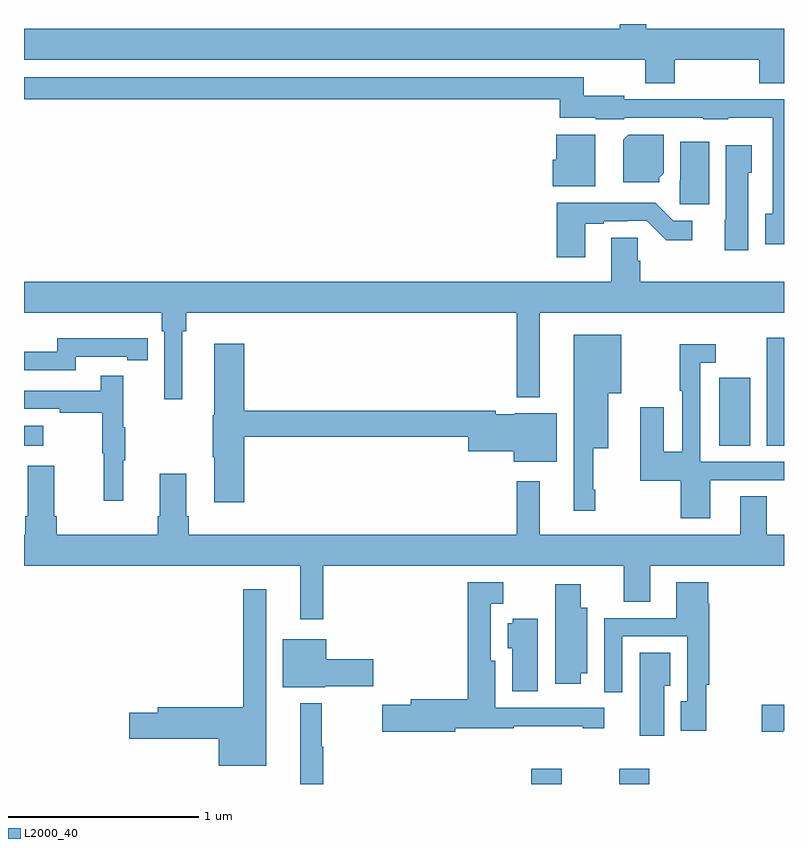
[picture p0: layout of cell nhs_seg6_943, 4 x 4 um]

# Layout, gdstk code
import gdstk
lib = gdstk.Library(unit=1e-6, precision=1e-09)
def R(c, l, rs):  # rectangles x0, y0, x1, y1
    for r in rs: c.add(gdstk.rectangle(r[:2], r[2:], *l))
def P(c, l, *ps):  # polygons
    for p in ps: c.add(gdstk.Polygon(p, *l))
L2000_40 = (2000, 40)

nhs_seg6_943 = lib.new_cell('nhs_seg6_943')
R(nhs_seg6_943, L2000_40, [(171.671,967.5,171.831,967.579), (172.132,967.5,172.292,967.579), (172.658,969.28,172.822,969.637), (172.91,969.28,173,969.85), (169,969.281,169.102,969.385)])
P(nhs_seg6_943, L2000_40, [(172.425,971.312),(172.87,971.312),(172.87,971.188),(173,971.188),(173,971.476),(172.276,971.476),(172.276,971.5),(172.136,971.5),(172.136,971.476),(169,971.476),(169,971.312),(172.27,971.312),(172.27,971.188),(172.425,971.188)],
  [(173,971.103),(172.807,971.103),(172.807,971.105),(172.575,971.105),(172.575,971.103),(172.158,971.103),(172.158,971.122),(171.946,971.122),(171.946,971.22),(169,971.22),(169,971.104),(171.821,971.104),(171.821,971.006),(172.008,971.006),(172.008,971),(172.158,971),(172.158,971.007),(172.575,971.007),(172.575,971),(172.707,971),(172.707,971.006),(172.941,971.006),(172.941,970.502),(172.901,970.502),(172.901,970.341),(173,970.341)],
  [(172.344,970.692),(172.366,970.714),(172.366,970.918),(172.18,970.918),(172.154,970.892),(172.154,970.667),(172.344,970.667)],
  [(172.006,970.916),(171.8,970.916),(171.8,970.785),(171.782,970.785),(171.782,970.646),(172.006,970.646)],
  [(172.606,970.879),(172.454,970.879),(172.454,970.674),(172.45,970.674),(172.45,970.551),(172.606,970.551)],
  [(172.813,970.716),(172.831,970.716),(172.831,970.861),(172.694,970.861),(172.694,970.47),(172.688,970.47),(172.688,970.308),(172.813,970.308)],
  [(171.955,970.449),(172.051,970.449),(172.051,970.461),(172.178,970.461),(172.178,970.464),(172.278,970.464),(172.381,970.362),(172.516,970.362),(172.516,970.464),(172.416,970.464),(172.322,970.558),(171.803,970.558),(171.803,970.272),(171.955,970.272)],
  [(169.834,969.884),(169.853,969.884),(169.853,969.98),(171.594,969.98),(171.594,969.536),(171.715,969.536),(171.715,969.98),(173,969.98),(173,970.144),(172.244,970.144),(172.244,970.254),(172.23,970.254),(172.23,970.376),(172.091,970.376),(172.091,970.144),(169,970.144),(169,969.98),(169.724,969.98),(169.724,969.884),(169.737,969.884),(169.737,969.525),(169.834,969.525)],
  [(172.007,969.049),(171.997,969.049),(171.997,969.266),(172.075,969.266),(172.075,969.557),(172.144,969.557),(172.144,969.865),(171.893,969.865),(171.893,968.937),(172.007,968.937)],
  [(169.272,969.75),(169.544,969.75),(169.544,969.73),(169.652,969.73),(169.652,969.846),(169.544,969.846),(169.544,969.847),(169.176,969.847),(169.176,969.774),(169,969.774),(169,969.678),(169.272,969.678)],
  [(170.159,969.328),(171.338,969.328),(171.338,969.251),(171.578,969.251),(171.578,969.197),(171.805,969.197),(171.805,969.451),(171.582,969.451),(171.582,969.445),(171.482,969.445),(171.482,969.464),(170.159,969.464),(170.159,969.817),(170,969.817),(170,969.441),(169.993,969.441),(169.993,969.22),(170,969.22),(170,968.982),(170.159,968.982)],
  [(172.612,969.099),(173,969.099),(173,969.195),(172.56,969.195),(172.56,969.717),(172.642,969.717),(172.642,969.814),(172.452,969.814),(172.452,969.571),(172.464,969.571),(172.464,969.248),(172.366,969.248),(172.366,969.484),(172.244,969.484),(172.244,969.095),(172.456,969.095),(172.456,968.898),(172.612,968.898)],
  [(169.523,969.203),(169.534,969.203),(169.534,969.377),(169.523,969.377),(169.523,969.649),(169.405,969.649),(169.405,969.57),(169,969.57),(169,969.474),(169.189,969.474),(169.189,969.454),(169.413,969.454),(169.413,969.24),(169.42,969.24),(169.42,968.991),(169.523,968.991)],
  [(170.575,968.648),(172.157,968.648),(172.157,968.458),(172.297,968.458),(172.297,968.648),(173,968.648),(173,968.812),(172.909,968.812),(172.909,969.014),(172.769,969.014),(172.769,968.812),(171.715,968.812),(171.715,969.094),(171.594,969.094),(171.594,968.812),(169.868,968.812),(169.868,968.908),(169.855,968.908),(169.855,969.133),(169.715,969.133),(169.715,968.908),(169.703,968.908),(169.703,968.812),(169.172,968.812),(169.172,968.908),(169.159,968.908),(169.159,969.175),(169.019,969.175),(169.019,968.908),(169.007,968.908),(169.007,968.812),(169,968.812),(169,968.648),(170.453,968.648),(170.453,968.367),(170.575,968.367)],
  [(172.592,968.023),(172.607,968.023),(172.607,968.45),(172.601,968.45),(172.601,968.563),(172.433,968.563),(172.433,968.373),(172.053,968.373),(172.053,967.983),(172.149,967.983),(172.149,968.277),(172.491,968.277),(172.491,967.935),(172.457,967.935),(172.457,967.779),(172.592,967.779)],
  [(171.27,967.794),(171.577,967.794),(171.577,967.804),(171.941,967.804),(171.941,967.794),(172.053,967.794),(172.053,967.902),(171.481,967.902),(171.481,968.148),(171.457,968.148),(171.457,968.45),(171.523,968.45),(171.523,968.563),(171.336,968.563),(171.336,967.946),(171.035,967.946),(171.035,967.916),(170.886,967.916),(170.886,967.774),(171.27,967.774)],
  [(171.931,968.084),(171.964,968.084),(171.964,968.428),(171.931,968.428),(171.931,968.551),(171.797,968.551),(171.797,968.028),(171.931,968.028)],
  [(170.275,968.524),(170.154,968.524),(170.154,967.904),(169.703,967.904),(169.703,967.874),(169.554,967.874),(169.554,967.739),(170.024,967.739),(170.024,967.595),(170.275,967.595)],
  [(171.703,968.371),(171.573,968.371),(171.573,968.346),(171.545,968.346),(171.545,968.214),(171.569,968.214),(171.569,967.987),(171.703,967.987)],
  [(170.586,968.015),(170.839,968.015),(170.839,968.157),(170.59,968.157),(170.59,968.263),(170.363,968.263),(170.363,968.009),(170.586,968.009)],
  [(172.369,968.018),(172.402,968.018),(172.402,968.192),(172.241,968.192),(172.241,967.755),(172.369,967.755)],
  [(170.575,967.697),(170.567,967.697),(170.567,967.924),(170.453,967.924),(170.453,967.5),(170.575,967.5)],
  [(172.996,967.781),(173,967.781),(173,967.916),(172.884,967.916),(172.884,967.774),(172.996,967.774)])

lib.write_gds('nhs_seg6_943.gds')
